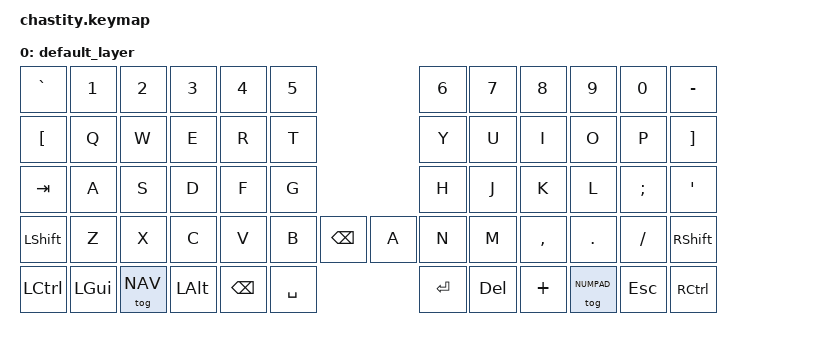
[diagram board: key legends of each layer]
#include <behaviors.dtsi>
#include <dt-bindings/zmk/keys.h>

/ {
    keymap {
        compatible = "zmk,keymap";

            default_layer {
            bindings = <
                &kp GRAVE  &kp N1    &kp N2    &kp N3     &kp N4    &kp N5                         &kp N6   &kp N7    &kp N8     &kp N9      &kp N0    &kp MINUS
                &kp LBKT   &kp Q     &kp W     &kp E      &kp R     &kp T                          &kp Y    &kp U     &kp I      &kp O       &kp P     &kp RBKT
                &kp TAB    &kp A     &kp S     &kp D      &kp F     &kp G                          &kp H    &kp J     &kp K      &kp L       &kp SEMI  &kp SQT
                &kp LSHFT  &kp Z     &kp X     &kp C      &kp V     &kp B      &kp BSPC     &kp A  &kp N    &kp M     &kp COMMA  &kp DOT     &kp FSLH  &kp RSHFT
                &kp LCTRL  &kp LGUI  &tog NAV  &kp LALT   &kp BSPC  &kp SPACE                      &kp RET  &kp DEL   &kp PLUS   &tog NUMPAD &kp ESC   &kp RCTRL
            >;
        };
    };
};
J

